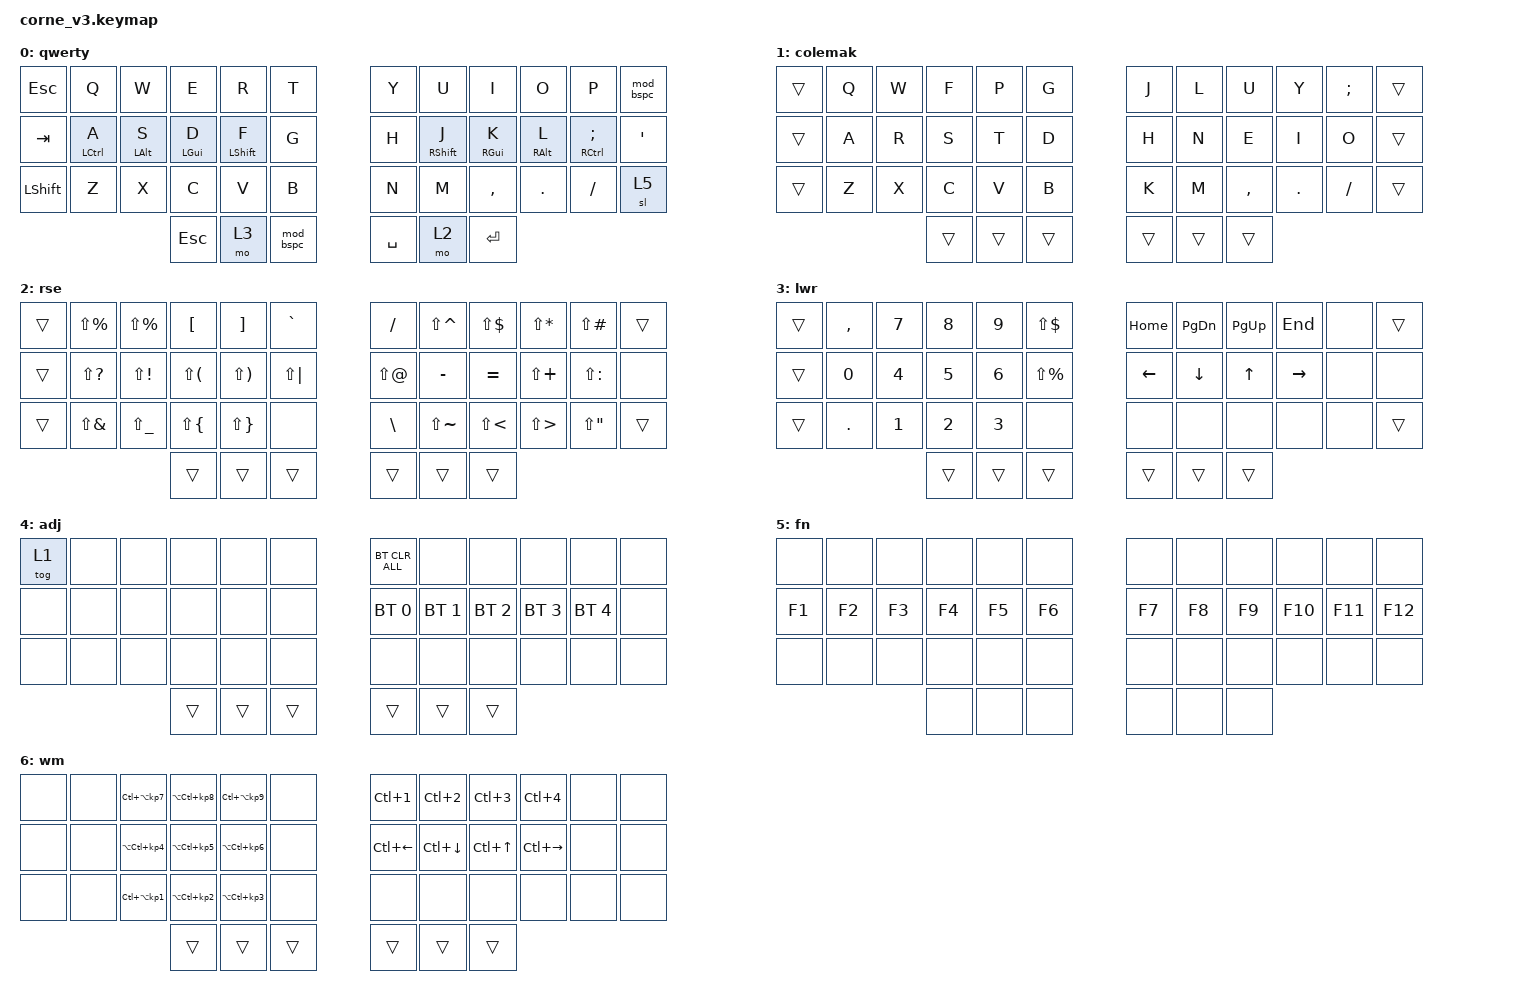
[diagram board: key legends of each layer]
/*
 * Copyright (c) 2020 The ZMK Contributors
 *
 * SPDX-License-Identifier: MIT
 */

#include <behaviors.dtsi>
#include <dt-bindings/zmk/bt.h>
#include <dt-bindings/zmk/keys.h>

// layer-tap

&lt {
    tapping-term-ms = <190>;
    flavor = "balanced";
};

// one-shot layers

&sl { release-after-ms = <5000>; };

/ {
    //combos {
    //    compatible = "zmk,combos";
    //    combo_esc {
    //        timeout-ms = <50>;
    //        key-positions = <0 1>;
    //        bindings = <&kp ESC>;
    //    };
    //};

    behaviors {
        mod_bspc: mod_bspc {
            compatible = "zmk,behavior-mod-morph";
            label = "MOD_BSPC";
            bindings = <&kp BACKSPACE>, <&kp DEL>;

            #binding-cells = <0>;
            mods = <(MOD_LSFT|MOD_RSFT)>;
        };

        hrm_l: hrm_l {
            compatible = "zmk,behavior-hold-tap";
            label = "HRM_L";
            bindings = <&kp>, <&kp>;

            #binding-cells = <2>;
            hold-trigger-key-positions = <36 37 38 39 40 30 18 6 7 19 31 32 20 8 9 21 34 33 22 10 11 35 23 41>;
            hold-trigger-on-release;
            flavor = "balanced";
            tapping-term-ms = <200>;
            quick-tap-ms = <150>;
            require-prior-idle-ms = <200>;
        };

        hrm_r: hrm_r {
            compatible = "zmk,behavior-hold-tap";
            label = "HRM_R";
            bindings = <&kp>, <&kp>;

            #binding-cells = <2>;
            hold-trigger-on-release;
            flavor = "balanced";
            tapping-term-ms = <200>;
            quick-tap-ms = <150>;
            require-prior-idle-ms = <200>;
            hold-trigger-key-positions = <0 1 2 3 4 5 12 13 14 15 16 17 24 25 26 27 28 29 36 37 38 39 40 41>;
        };
    };

    keymap {
        compatible = "zmk,keymap";

        qwerty {
            display-name = "qwerty";
            // -----------------------------------------------------------------------------------------
            // |  TAB |  Q  |  W  |  E  |  R  |   T  |   |  Y  |  U   |  I  |  O  |  P  | BSPC |
            // | CTRL |  A  |  S  |  D  |  F  |   G  |   |  H  |  J   |  K  |  L  |  ;  |  '   |
            // | SHFT |  Z  |  X  |  C  |  V  |   B  |   |  N  |  M   |  ,  |  .  |  /  | ESC  |
            //                    | ESC | LWR | BSPC |   | SPC | RSE  | ENT |

            bindings = <
&kp ESCAPE  &kp Q           &kp W              &kp E          &kp R            &kp T        &kp Y      &kp U                 &kp I          &kp O               &kp P              &mod_bspc
&kp TAB     &hrm_l LCTRL A  &hrm_l LEFT_ALT S  &hrm_l LGUI D  &hrm_l LSHIFT F  &kp G        &kp H      &hrm_r RIGHT_SHIFT J  &hrm_r RGUI K  &hrm_r RIGHT_ALT L  &hrm_r RCTRL SEMI  &kp SQT
&kp LSHFT   &kp Z           &kp X              &kp C          &kp V            &kp B        &kp N      &kp M                 &kp COMMA      &kp DOT             &kp FSLH           &sl 5
                                               &kp ESCAPE     &mo 3            &mod_bspc    &kp SPACE  &mo 2                 &kp ENTER
            >;
        };

        colemak {
            display-name = "colemak";
            bindings = <
&trans  &kp Q  &kp W  &kp F   &kp P   &kp G     &kp J   &kp L   &kp U      &kp Y    &kp SEMI  &trans
&trans  &kp A  &kp R  &kp S   &kp T   &kp D     &kp H   &kp N   &kp E      &kp I    &kp O     &trans
&trans  &kp Z  &kp X  &kp C   &kp V   &kp B     &kp K   &kp M   &kp COMMA  &kp DOT  &kp FSLH  &trans
                      &trans  &trans  &trans    &trans  &trans  &trans
            >;
        };

        raise_layer {
            display-name = "rse";
            bindings = <
&trans  &kp LS(PRCNT)  &kp LS(PRCNT)  &kp LBKT      &kp RBKT      &kp GRAVE       &kp FSLH    &kp LS(CARET)  &kp LS(DLLR)  &kp LS(STAR)  &kp LS(POUND)  &trans
&trans  &kp LS(QMARK)  &kp LS(EXCL)   &kp LS(LPAR)  &kp LS(RPAR)  &kp LS(PIPE)    &kp LS(AT)  &kp MINUS      &kp EQUAL     &kp LS(PLUS)  &kp LS(COLON)  &none
&trans  &kp LS(AMPS)   &kp LS(UNDER)  &kp LS(LBRC)  &kp LS(RBRC)  &none           &kp BSLH    &kp LS(TILDE)  &kp LS(LT)    &kp LS(GT)    &kp LS(DQT)    &trans
                                      &trans        &trans        &trans          &trans      &trans         &trans
            >;
        };

        lower_layer {
            display-name = "lwr";
            bindings = <
&trans  &kp COMMA  &kp N7  &kp N8  &kp N9  &kp LS(DLLR)     &kp HOME  &kp PG_DN  &kp PG_UP  &kp END    &none  &trans
&trans  &kp N0     &kp N4  &kp N5  &kp N6  &kp LS(PRCNT)    &kp LEFT  &kp DOWN   &kp UP     &kp RIGHT  &none  &none
&trans  &kp DOT    &kp N1  &kp N2  &kp N3  &none            &none     &none      &none      &none      &none  &trans
                           &trans  &trans  &trans           &trans    &trans     &trans
            >;
        };

        adjust_layer {
            display-name = "adj";
            bindings = <
&tog 1  &none  &none  &none   &none   &none     &bt BT_CLR_ALL  &none         &none         &none         &none         &none
&none   &none  &none  &none   &none   &none     &bt BT_SEL 0    &bt BT_SEL 1  &bt BT_SEL 2  &bt BT_SEL 3  &bt BT_SEL 4  &none
&none   &none  &none  &none   &none   &none     &none           &none         &none         &none         &none         &none
                      &trans  &trans  &trans    &trans          &trans        &trans
            >;
        };

        fn_layer {
            display-name = "fn";
            bindings = <
&none   &none   &none   &none   &none   &none     &none   &none   &none   &none    &none    &none
&kp F1  &kp F2  &kp F3  &kp F4  &kp F5  &kp F6    &kp F7  &kp F8  &kp F9  &kp F10  &kp F11  &kp F12
&none   &none   &none   &none   &none   &none     &none   &none   &none   &none    &none    &none
                        &none   &none   &none     &none   &none   &none
            >;
        };

        wm_layer {
            display-name = "wm";
            bindings = <
&none   &none  &kp LC(LA(KP_NUMBER_7))  &kp LA(LC(KP_NUMBER_8))  &kp LC(LA(KP_NUMBER_9))   &none  &kp LC(NUMBER_1)    &kp LC(NUMBER_2)    &kp LC(NUMBER_3)  &kp LC(NUMBER_4)     &none  &none
&none   &none  &kp LA(LC(KP_NUMBER_4))  &kp LA(LC(KP_NUMBER_5))  &kp LA(LC(KP_NUMBER_6))   &none  &kp LC(LEFT_ARROW)  &kp LC(DOWN_ARROW)  &kp LC(UP_ARROW)  &kp LC(RIGHT_ARROW)  &none  &none
&none   &none  &kp LC(LA(KP_NUMBER_1))  &kp LA(LC(KP_NUMBER_2))  &kp LA(LC(KP_NUMBER_3))   &none  &none              &none              &none            &none               &none  &none
                      &trans  &trans  &trans    &trans          &trans        &trans
            >;
        };
    };

    conditional_layers {
        compatible = "zmk,conditional-layers";

        activate_adjust_layer {
            if-layers = <2 3>;
            then-layer = <4>;
        };
    };
};
